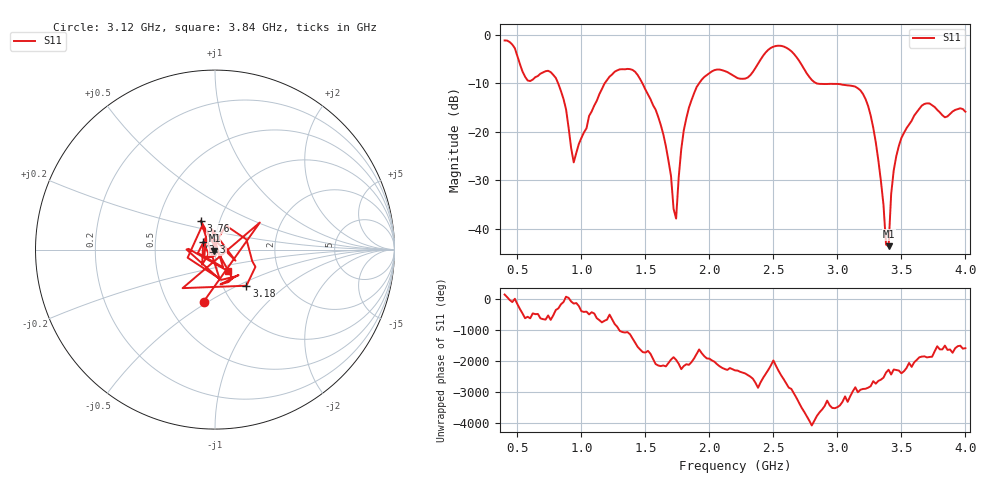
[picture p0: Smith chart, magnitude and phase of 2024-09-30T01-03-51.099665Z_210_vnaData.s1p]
!Created with skrf (http://scikit-rf.org).
# Hz S RI R 50.0
!freq ReS11 ImS11
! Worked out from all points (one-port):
!   181 points, 400 MHz to 4 GHz, reference 50 ohm
!   lowest |S11| = -43.6 dB at 3.4 GHz (marker M1), VSWR 1.01, Z = 49.7 - j0.56 ohm
!   |S11| at or under -10 dB: 818 MHz to 1.182 GHz (364.2 MHz wide, 36.4 % of centre); 1.476 GHz to 1.92 GHz (443.5 MHz wide, 26.1 % of centre); 2.836 GHz to end of sweep
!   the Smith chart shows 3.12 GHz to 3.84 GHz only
!   S11 on the Smith chart (normalised r, x): 3.12 GHz: 0.75, -0.48; 3.18 GHz: 1.29, -0.56; 3.3 GHz: 0.87, +0.07; 3.76 GHz: 0.81, +0.27; 3.84 GHz: 1.12, -0.28
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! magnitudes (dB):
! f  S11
! 400 MHz  -1.2
! 580 MHz  -9.4
! 740 MHz  -7.4
! 860 MHz  -13.2
! 940 MHz  -26.3
! 1.18 GHz  -10.1
! 1.3 GHz  -7.1
! 1.58 GHz  -15.5
! 1.66 GHz  -23.0
! 1.74 GHz  -38.0
! 1.76 GHz  -29.5
! 1.8 GHz  -19.7
! 1.9 GHz  -10.8
! 2.2 GHz  -8.6
! 2.5 GHz  -2.4
! 2.66 GHz  -3.9
! 2.82 GHz  -9.8
! 3.1 GHz  -10.5
! 3.12 GHz  -10.6
! 3.18 GHz  -11.5
! 3.3 GHz  -22.2
! 3.38 GHz  -43.3
! 3.4 GHz  -43.6
! 3.44 GHz  -28.0
! 3.56 GHz  -18.5
! 3.76 GHz  -14.9
! 3.84 GHz  -17.0
! 4 GHz  -15.9
